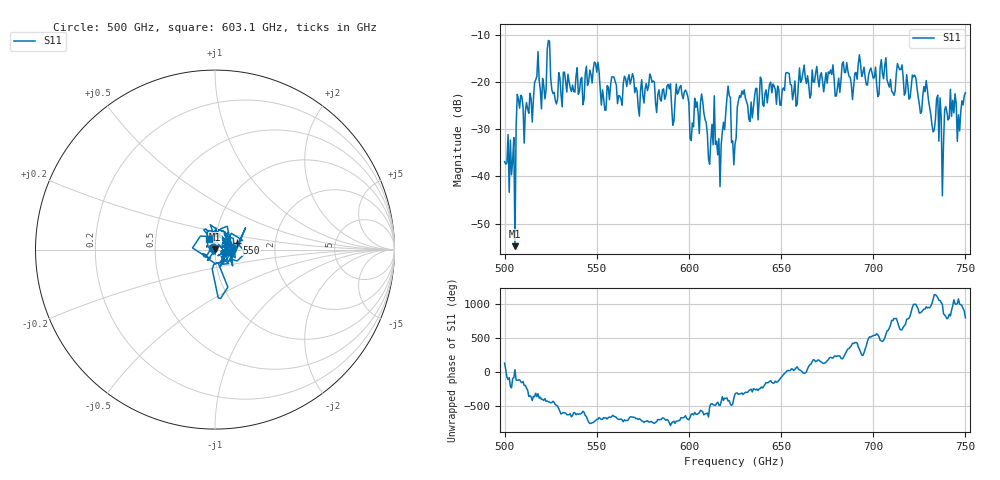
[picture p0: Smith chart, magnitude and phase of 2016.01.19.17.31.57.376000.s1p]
!Created with skrf (http://scikit-rf.org).
# GHz S RI R 50.0
!freq ReS11 ImS11
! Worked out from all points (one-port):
!   401 points, 500 GHz to 750 GHz, reference 50 ohm
!   lowest |S11| = -54.7 dB at 505.6 GHz (marker M1), VSWR 1.00, Z = 50.2 + j0.0922 ohm
!   |S11| at or under -10 dB: start of sweep to end of sweep
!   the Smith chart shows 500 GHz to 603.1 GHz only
!   S11 on the Smith chart (normalised r, x): 500 GHz: 0.98, +0.02; 550 GHz: 1.27, +0.10; 603.1 GHz: 0.93, +0.11
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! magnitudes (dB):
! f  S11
! 500 GHz  -36.9
! 505.6 GHz  -54.7
! 508.1 GHz  -25.6
! 511.9 GHz  -24.4
! 523.8 GHz  -11.2
! 526.9 GHz  -22.2
! 531.2 GHz  -25.3
! 550 GHz  -17.9
! 553.8 GHz  -23.6
! 558.8 GHz  -18.9
! 562.5 GHz  -23.0
! 593.8 GHz  -22.6
! 603.1 GHz  -23.4
! 616.2 GHz  -32.0
! 621.2 GHz  -20.9
! 625 GHz  -33.2
! 628.8 GHz  -21.9
! 656.2 GHz  -23.8
! 687.5 GHz  -19.0
! 705.6 GHz  -19.3
! 710.6 GHz  -22.2
! 714.4 GHz  -17.4
! 718.8 GHz  -20.5
! 728.8 GHz  -19.7
! 732.5 GHz  -30.6
! 735.6 GHz  -32.5
! 736.9 GHz  -27.5
! 750 GHz  -22.3
